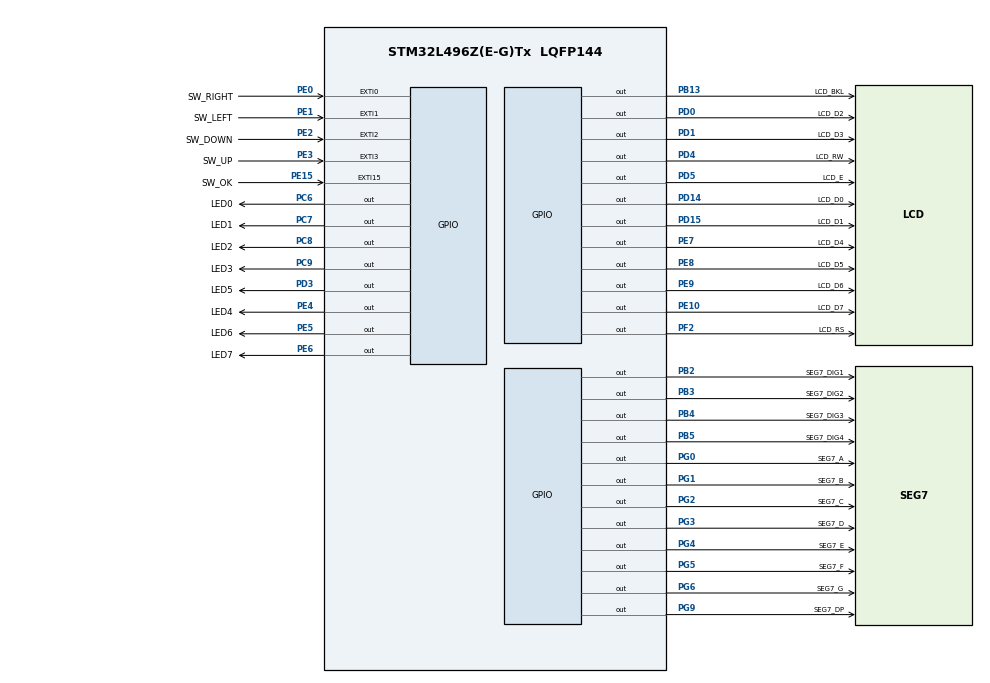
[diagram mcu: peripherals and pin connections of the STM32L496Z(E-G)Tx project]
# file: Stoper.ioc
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Mcu.Family=STM32L4
Mcu.Name=STM32L496Z(E-G)Tx
Mcu.Package=LQFP144
NVIC.EXTI0_IRQn=true\:0\:0\:false\:false\:true\:true\:true
NVIC.EXTI15_10_IRQn=true\:0\:0\:false\:false\:true\:true\:true
NVIC.EXTI1_IRQn=true\:0\:0\:false\:false\:true\:true\:true
NVIC.EXTI2_IRQn=true\:0\:0\:false\:false\:true\:true\:true
NVIC.EXTI3_IRQn=true\:0\:0\:false\:false\:true\:true\:true
NVIC.PriorityGroup=NVIC_PRIORITYGROUP_4
PA13\ (JTMS/SWDIO).Mode=Serial_Wire
PA13\ (JTMS/SWDIO).Signal=SYS_JTMS-SWDIO
PA14\ (JTCK/SWCLK).Mode=Serial_Wire
PA14\ (JTCK/SWCLK).Signal=SYS_JTCK-SWCLK
PB13.GPIO_Label=LCD_BKL
PB13.Signal=GPIO_Output
PB2.GPIO_Label=SEG7_DIG1
PB2.Signal=GPIO_Output
PB3\ (JTDO/TRACESWO).GPIO_Label=SEG7_DIG2
PB3\ (JTDO/TRACESWO).Signal=GPIO_Output
PB4\ (NJTRST).GPIO_Label=SEG7_DIG3
PB4\ (NJTRST).Signal=GPIO_Output
PB5.GPIO_Label=SEG7_DIG4
PB5.Signal=GPIO_Output
PC6.GPIO_Label=LED0
PC6.Signal=GPIO_Output
PC7.GPIO_Label=LED1
PC7.Signal=GPIO_Output
PC8.GPIO_Label=LED2
PC8.Signal=GPIO_Output
PC9.GPIO_Label=LED3
PC9.Signal=GPIO_Output
PD0.GPIO_Label=LCD_D2
PD0.Signal=GPIO_Output
PD1.GPIO_Label=LCD_D3
PD1.Signal=GPIO_Output
PD14.GPIO_Label=LCD_D0
PD14.Signal=GPIO_Output
PD15.GPIO_Label=LCD_D1
PD15.Signal=GPIO_Output
PD3.GPIO_Label=LED5
PD3.Signal=GPIO_Output
PD4.GPIO_Label=LCD_RW
PD4.Signal=GPIO_Output
PD5.GPIO_Label=LCD_E
PD5.Signal=GPIO_Output
PE0.GPIO_Label=SW_RIGHT
PE0.GPIO_ModeDefaultEXTI=GPIO_MODE_IT_FALLING
PE0.Signal=GPXTI0
PE1.GPIO_Label=SW_LEFT
PE1.GPIO_ModeDefaultEXTI=GPIO_MODE_IT_FALLING
PE1.Signal=GPXTI1
PE10.GPIO_Label=LCD_D7
PE10.Signal=GPIO_Output
PE15.GPIO_Label=SW_OK
PE15.GPIO_ModeDefaultEXTI=GPIO_MODE_IT_FALLING
PE15.Signal=GPXTI15
PE2.GPIO_Label=SW_DOWN
PE2.GPIO_ModeDefaultEXTI=GPIO_MODE_IT_FALLING
PE2.Signal=GPXTI2
PE3.GPIO_Label=SW_UP
PE3.GPIO_ModeDefaultEXTI=GPIO_MODE_IT_FALLING
PE3.Signal=GPXTI3
PE4.GPIO_Label=LED4
PE4.Signal=GPIO_Output
PE5.GPIO_Label=LED6
PE5.Signal=GPIO_Output
PE6.GPIO_Label=LED7
PE6.Signal=GPIO_Output
PE7.GPIO_Label=LCD_D4
PE7.Signal=GPIO_Output
PE8.GPIO_Label=LCD_D5
PE8.Signal=GPIO_Output
PE9.GPIO_Label=LCD_D6
PE9.Signal=GPIO_Output
PF2.GPIO_Label=LCD_RS
PF2.Signal=GPIO_Output
PG0.GPIO_Label=SEG7_A
PG0.Signal=GPIO_Output
PG1.GPIO_Label=SEG7_B
PG1.Signal=GPIO_Output
PG2.GPIO_Label=SEG7_C
PG2.Signal=GPIO_Output
PG3.GPIO_Label=SEG7_D
PG3.Signal=GPIO_Output
PG4.GPIO_Label=SEG7_E
PG4.Signal=GPIO_Output
PG5.GPIO_Label=SEG7_F
PG5.Signal=GPIO_Output
PG6.GPIO_Label=SEG7_G
PG6.Signal=GPIO_Output
PG9.GPIO_Label=SEG7_DP
PG9.Signal=GPIO_Output
ProjectManager.HeapSize=0x200
ProjectManager.StackSize=0x400
ProjectManager.TargetToolchain=STM32CubeIDE
RCC.HSE_VALUE=8000000
RCC.HSI48_VALUE=48000000
RCC.HSI_VALUE=16000000
RCC.LSE_VALUE=32768
RCC.MSI_VALUE=4000000
RCC.VCOOutputFreq_Value=32000000
board=custom

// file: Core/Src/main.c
/* USER CODE BEGIN Header */
/**
 ******************************************************************************
 * @file           : main.c
 * @brief          : Main program body
 ******************************************************************************
 * @attention
 *
 * <h2><center>&copy; Copyright (c) 2021 STMicroelectronics.
 * All rights reserved.</center></h2>
 *
 * This software component is licensed by ST under BSD 3-Clause license,
 * the "License"; You may not use this file except in compliance with the
 * License. You may obtain a copy of the License at:
 *                        opensource.org/licenses/BSD-3-Clause
 *
 ******************************************************************************
 */
/* USER CODE END Header */
#include "main.h"
#include "gpio.h"

/* USER CODE BEGIN Includes */
#include "lcd.h"
#include <stdio.h>
#include <string.h>
/* USER CODE END Includes */

/* USER CODE BEGIN PD */
//#define SEG7_Msk       (SEG7_A_Pin|SEG7_B_Pin|SEG7_C_Pin|SEG7_D_Pin|SEG7_E_Pin|SEG7_F_Pin|SEG7_G_Pin|SEG7_DP_Pin)

//#define SEG7_MOD_Msk   (SEG7_DIG4_Pin|SEG7_DIG3_Pin|SEG7_DIG2_Pin|SEG7_DIG1_Pin)

/* USER CODE END PD */

/* USER CODE BEGIN PV */
/*const uint8_t SEG_Bin2Dec[] = {
SEG7_A_Pin | SEG7_B_Pin | SEG7_C_Pin | SEG7_D_Pin | SEG7_E_Pin | SEG7_F_Pin,
SEG7_B_Pin | SEG7_C_Pin, //1
		SEG7_A_Pin | SEG7_B_Pin | SEG7_D_Pin | SEG7_E_Pin | SEG7_G_Pin, //2
		SEG7_A_Pin | SEG7_B_Pin | SEG7_C_Pin | SEG7_D_Pin | SEG7_G_Pin,  //3
		SEG7_B_Pin | SEG7_C_Pin | SEG7_F_Pin | SEG7_G_Pin, //4
		SEG7_A_Pin | SEG7_C_Pin | SEG7_D_Pin | SEG7_F_Pin | SEG7_G_Pin, //5
		SEG7_A_Pin | SEG7_C_Pin | SEG7_D_Pin | SEG7_E_Pin | SEG7_F_Pin
				| SEG7_G_Pin, //6
		SEG7_A_Pin | SEG7_B_Pin | SEG7_C_Pin, //7
		SEG7_A_Pin | SEG7_B_Pin | SEG7_C_Pin | SEG7_D_Pin | SEG7_E_Pin
				| SEG7_F_Pin | SEG7_G_Pin, //8
		SEG7_A_Pin | SEG7_B_Pin | SEG7_C_Pin | SEG7_D_Pin | SEG7_F_Pin
				| SEG7_G_Pin, //9
		SEG7_A_Pin | SEG7_B_Pin | SEG7_C_Pin | SEG7_E_Pin | SEG7_F_Pin
				| SEG7_G_Pin, //A
		SEG7_A_Pin | SEG7_B_Pin | SEG7_C_Pin | SEG7_D_Pin | SEG7_E_Pin
				| SEG7_F_Pin | SEG7_G_Pin, //B
		SEG7_A_Pin | SEG7_D_Pin | SEG7_E_Pin | SEG7_F_Pin, //C
		SEG7_A_Pin | SEG7_B_Pin | SEG7_C_Pin | SEG7_D_Pin | SEG7_E_Pin
				| SEG7_F_Pin, //D
		SEG7_A_Pin | SEG7_D_Pin | SEG7_E_Pin | SEG7_F_Pin | SEG7_G_Pin, //E
		SEG7_A_Pin | SEG7_E_Pin | SEG7_F_Pin | SEG7_G_Pin, //F

		}; */

const uint16_t SEG_Module[] = { SEG7_DIG4_Pin, SEG7_DIG3_Pin, SEG7_DIG2_Pin,
		SEG7_DIG1_Pin };
/* USER CODE END PV */

void SystemClock_Config(void);

/* USER CODE BEGIN 0 */
/*void SEG_SetSegment(uint8_t value) {
	value &= 0x0F;
	HAL_GPIO_WritePin(GPIOG, SEG7_Msk, GPIO_PIN_RESET);
	HAL_GPIO_WritePin(GPIOG, SEG_Bin2Dec[value], GPIO_PIN_SET);

}

void SEG_SetModule(uint8_t module) {
	module &= 0x03;
	HAL_GPIO_WritePin(GPIOB, SEG7_MOD_Msk, GPIO_PIN_RESET);
	HAL_GPIO_WritePin(GPIOB, SEG_Module[module], GPIO_PIN_SET);
}*/

//#define SEG_RefreshPeriodMs (5)

//uint8_t SEG_Value[] = { 0, 0, 0, 0 };

/*void SEG_Mux(void) {
	static uint32_t module = 0;
	if (SEG_Value[3] == 0 && SEG_Value[2] == 0 && SEG_Value[1] == 0)
		module = 0;
	else if (SEG_Value[3] == 0 && SEG_Value[2] == 0)
		module %= 2;
	else if (SEG_Value[3] == 0)
		module %= 3;

	SEG_SetSegment(SEG_Value[module]);
	SEG_SetModule(module++);

	module &= 0x03;
} */

/*void HAL_SYSTICK_Callback(void) {
	static uint16_t SEG_Delay = 0;
	if ((++SEG_Delay) == SEG_RefreshPeriodMs) {
		SEG_Mux();
		SEG_Delay = 0;
	}
}*/

/*void SEG_DisplayDec(uint16_t value) {
	if ((value >= 0) && (value < 10000)) {
		SEG_Value[0] = (value % 16);
		value /= 16;
		SEG_Value[1] = value ? (value % 16) : 0;
		value /= 16;
		SEG_Value[2] = value ? (value % 16) : 0;
		value /= 16;
		SEG_Value[3] = value ? (value % 16) : 0;
		value /= 16;
	}
} */

uint8_t time[] = { 0, 0, 0, 0, 0, 0, 0, 0 }; //tab do wys czasu

void DisplayTimeFormat(uint32_t seconds) {
	uint32_t hours = seconds / 3600; //ilosc godzin
	seconds = seconds - (hours * 3600);

	uint32_t minutes = seconds / 60; //ilosc minut
	seconds = seconds - (minutes * 60);

	time[7] = '0' + seconds % 10; //wpisujemy do tablicy w odpowiednie miejsca jako ASCII
	seconds /= 10;
	time[6] = '0' + seconds % 10;
	time[5] = ' ';
	time[4] = '0' + minutes % 10;
	minutes /= 10;
	time[3] = '0' + (minutes % 10);
	time[2] = ' ';
	time[1] = '0' + (hours % 10);
	hours /= 10;
	time[0] = '0' + (hours % 10);

}

/* USER CODE END 0 */

int main(void) {

	/* MCU Configuration--------------------------------------------------------*/

	/* Reset of all peripherals, Initializes the Flash interface and the Systick. */
	HAL_Init();

	/* Configure the system clock */
	SystemClock_Config();

	/* Initialize all configured peripherals */
	MX_GPIO_Init();
	/* USER CODE BEGIN 2 */
	LCD_Init();
	LCD_BacklightOn();

	/* USER CODE END 2 */

	/* Infinite loop */
	/* USER CODE BEGIN WHILE */
	// LCD_Init();
	// LCD_BacklightOn();
	// LCD_WriteText((uint8_t*)"Hello");

	uint32_t seconds=0;
	uint32_t stoper=0;
	uint8_t licz=0;

	while (1) {

		DisplayTimeFormat(stoper); //pobieram czas stopera
		LCD_WriteTextXY((uint8_t*)time,8,1,5); //wys w 1 lini

		if(licz == 1){
			stoper++;
		}

		if(HAL_GPIO_ReadPin(SW_OK_GPIO_Port, SW_OK_Pin)==GPIO_PIN_RESET){
			if(licz == 0)//start stopera
			{
				stoper=0;
				licz=1;
			}
			else //stop stopera
			{
				licz=0;
			}
		}

		DisplayTimeFormat(seconds);//pobiera czas
		LCD_WriteTextXY((uint8_t*)time,8,2,5); // 2 linia
		HAL_Delay(1000);
		seconds++;

	}

	/* USER CODE END WHILE */

}

void SystemClock_Config(void) {
	RCC_OscInitTypeDef RCC_OscInitStruct = { 0 };
	RCC_ClkInitTypeDef RCC_ClkInitStruct = { 0 };

	/** Configure the main internal regulator output voltage
	 */
	if (HAL_PWREx_ControlVoltageScaling(PWR_REGULATOR_VOLTAGE_SCALE1)
			!= HAL_OK) {
		Error_Handler();
	}
	/** Initializes the RCC Oscillators according to the specified parameters
	 * in the RCC_OscInitTypeDef structure.
	 */
	RCC_OscInitStruct.OscillatorType = RCC_OSCILLATORTYPE_MSI;
	RCC_OscInitStruct.MSIState = RCC_MSI_ON;
	RCC_OscInitStruct.MSICalibrationValue = 0;
	RCC_OscInitStruct.MSIClockRange = RCC_MSIRANGE_6;
	RCC_OscInitStruct.PLL.PLLState = RCC_PLL_NONE;
	if (HAL_RCC_OscConfig(&RCC_OscInitStruct) != HAL_OK) {
		Error_Handler();
	}
	/** Initializes the CPU, AHB and APB buses clocks
	 */
	RCC_ClkInitStruct.ClockType = RCC_CLOCKTYPE_HCLK | RCC_CLOCKTYPE_SYSCLK
			| RCC_CLOCKTYPE_PCLK1 | RCC_CLOCKTYPE_PCLK2;
	RCC_ClkInitStruct.SYSCLKSource = RCC_SYSCLKSOURCE_MSI;
	RCC_ClkInitStruct.AHBCLKDivider = RCC_SYSCLK_DIV1;
	RCC_ClkInitStruct.APB1CLKDivider = RCC_HCLK_DIV1;
	RCC_ClkInitStruct.APB2CLKDivider = RCC_HCLK_DIV1;

	if (HAL_RCC_ClockConfig(&RCC_ClkInitStruct, FLASH_LATENCY_0) != HAL_OK) {
		Error_Handler();
	}
}

void Error_Handler(void) {
	__disable_irq();
	while (1) {
	}
}

/************************ (C) COPYRIGHT STMicroelectronics *****END OF FILE****/
